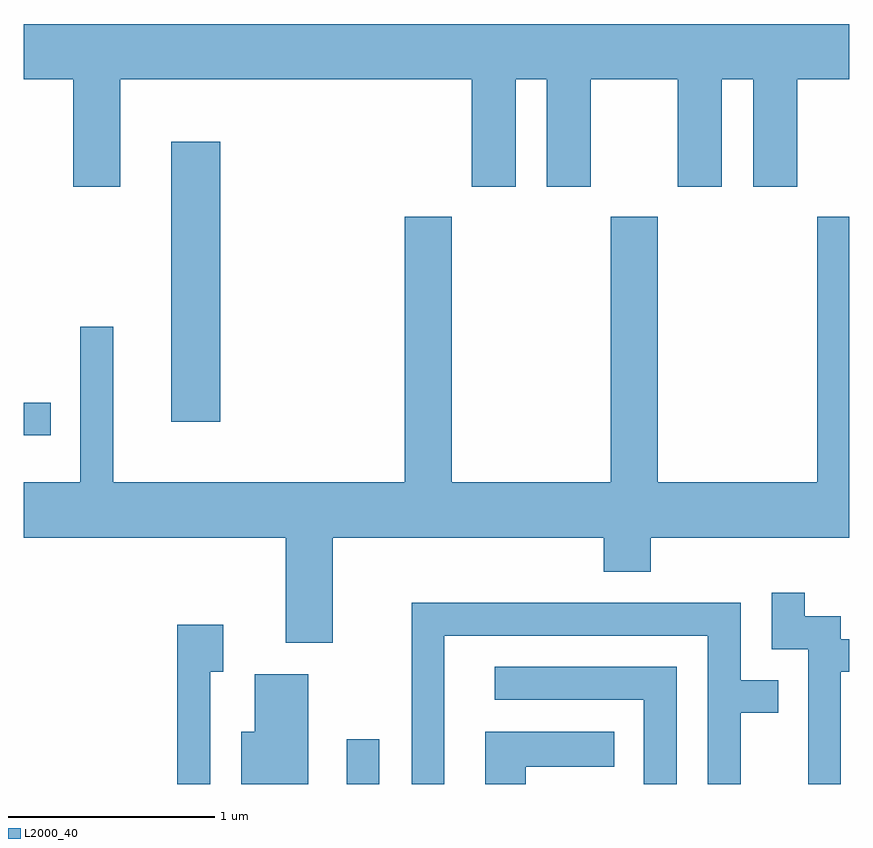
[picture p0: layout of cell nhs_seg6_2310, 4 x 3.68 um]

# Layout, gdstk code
import gdstk
lib = gdstk.Library(unit=1e-6, precision=1e-09)
def R(c, l, rs):  # rectangles x0, y0, x1, y1
    for r in rs: c.add(gdstk.rectangle(r[:2], r[2:], *l))
def P(c, l, *ps):  # polygons
    for p in ps: c.add(gdstk.Polygon(p, *l))
L2000_40 = (2000, 40)

nhs_seg6_2310 = lib.new_cell('nhs_seg6_2310')
R(nhs_seg6_2310, L2000_40, [(257.176,1562.162,257.334,1562.378), (255.611,1563.851,255.743,1564.009), (256.326,1563.916,256.564,1565.274)])
P(nhs_seg6_2310, L2000_40, [(255.611,1565.576),(255.851,1565.576),(255.851,1565.056),(256.079,1565.056),(256.079,1565.576),(257.781,1565.576),(257.781,1565.056),(257.994,1565.056),(257.994,1565.576),(258.146,1565.576),(258.146,1565.056),(258.359,1565.056),(258.359,1565.576),(258.781,1565.576),(258.781,1565.056),(258.994,1565.056),(258.994,1565.576),(259.146,1565.576),(259.146,1565.056),(259.359,1565.056),(259.359,1565.576),(259.611,1565.576),(259.611,1565.844),(255.611,1565.844)],
  [(257.109,1563.356),(258.421,1563.356),(258.421,1563.191),(258.649,1563.191),(258.649,1563.356),(259.611,1563.356),(259.611,1564.909),(259.456,1564.909),(259.456,1563.624),(258.684,1563.624),(258.684,1564.909),(258.456,1564.909),(258.456,1563.624),(257.684,1563.624),(257.684,1564.909),(257.456,1564.909),(257.456,1563.624),(256.044,1563.624),(256.044,1564.378),(255.886,1564.378),(255.886,1563.624),(255.611,1563.624),(255.611,1563.356),(256.881,1563.356),(256.881,1562.846),(257.109,1562.846)],
  [(259.569,1562.706),(259.611,1562.706),(259.611,1562.864),(259.569,1562.864),(259.569,1562.974),(259.394,1562.974),(259.394,1563.088),(259.236,1563.088),(259.236,1562.816),(259.411,1562.816),(259.411,1562.162),(259.569,1562.162)],
  [(257.649,1562.881),(258.926,1562.881),(258.926,1562.162),(259.084,1562.162),(259.084,1562.506),(259.267,1562.506),(259.267,1562.664),(259.084,1562.664),(259.084,1563.039),(257.491,1563.039),(257.491,1562.162),(257.649,1562.162)],
  [(256.514,1562.706),(256.579,1562.706),(256.579,1562.934),(256.356,1562.934),(256.356,1562.162),(256.514,1562.162)],
  [(258.774,1562.729),(257.892,1562.729),(257.892,1562.571),(258.616,1562.571),(258.616,1562.162),(258.774,1562.162)],
  [(256.989,1562.694),(256.731,1562.694),(256.731,1562.414),(256.666,1562.414),(256.666,1562.162),(256.989,1562.162)],
  [(258.044,1562.246),(258.473,1562.246),(258.473,1562.414),(257.846,1562.414),(257.846,1562.162),(258.044,1562.162)])

lib.write_gds('nhs_seg6_2310.gds')
